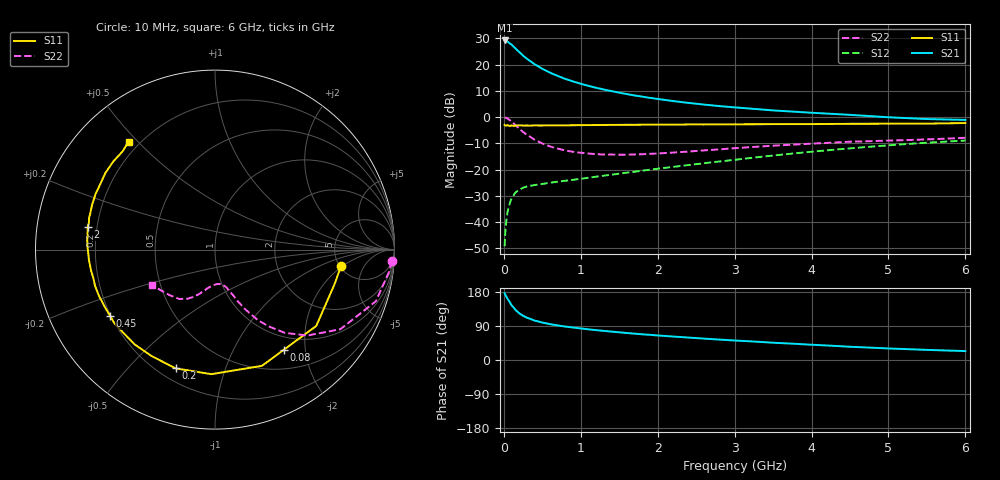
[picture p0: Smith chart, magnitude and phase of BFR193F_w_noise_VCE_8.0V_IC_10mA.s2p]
! Infineon Technologies  Discrete & RF Semiconductors
! BFR193F
! VCE =  8.0 V,  IC =  10 mA
! Common Emitter S-Parameters:  Jan 2017
# GHz  S  MA  R  50
!  f  S11  S21  S12  S22
! GHz  MAG  ANG  MAG  ANG  MAG  ANG  MAG  ANG
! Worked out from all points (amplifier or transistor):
!   77 points, 10 MHz to 6 GHz, reference 50 ohm
!   highest |S21| = 29.2 dB at 10 MHz (marker M1)
!   |S21| within 3 dB of that: start of sweep to 150.2 MHz
!   unconditionally stable (mu >= 1): 1.606 GHz to 2.867 GHz
!   at 130 MHz: K = 0.17, MSG = 28.2 dB, |S12| = -29.6 dB
!   at 2.2 GHz: K = 1.05, MAG = 11.2 dB, |S12| = -18.9 dB
!   at 6 GHz: K = 0.79, MSG = 3.9 dB, |S12| = -8.9 dB
!   lowest NFmin = 0.87 dB at 450 MHz
!   S11 on the Smith chart (normalised r, x): 10 MHz: 5.18, -1.85; 80 MHz: 0.78, -1.61; 200 MHz: 0.27, -0.69; 450 MHz: 0.20, -0.28; 2 GHz: 0.16, +0.08; 6 GHz: 0.16, +0.47
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0.01  0.7085 -7.2  28.72 176.3  0.0035 88.9  0.9873 -3.8
0.02  0.6938 -15.8  28.42 171.9  0.0067 87.7  0.9774 -7.3
0.05  0.7067 -37.0  27.27 160.8  0.0162 73.1  0.9414 -17.8
0.08  0.6772 -55.6  25.05 151.5  0.0234 64.6  0.8662 -26.1
0.1  0.6985 -68.0  24 144.4  0.0283 61.3  0.8276 -32.4
0.14  0.6857 -87.0  20.99 135.1  0.0348 54.0  0.727 -40.4
0.15  0.6943 -91.7  20.34 132.4  0.0365 52.6  0.7045 -42.8
0.2  0.6972 -108.4  17.31 123.3  0.0417 47.0  0.6057 -50.0
0.25  0.6903 -121.0  14.77 116.6  0.0452 43.1  0.5204 -55.1
0.3  0.6925 -130.4  12.87 111.6  0.0479 40.8  0.4599 -58.7
0.4  0.6952 -143.4  10.12 103.9  0.051 39.5  0.3704 -63.3
0.45  0.6917 -147.6  9.193 101.6  0.0522 39.3  0.3424 -64.6
0.6  0.6959 -158.2  7.004 94.6  0.0563 40.4  0.2764 -68.2
0.7  0.6983 -163.1  6.063 91.2  0.0591 42.1  0.2513 -70.2
1.1  0.7048 -175.3  3.927 80.9  0.0701 50.1  0.203 -77.4
1.5  0.7122 177.2  2.916 73.1  0.0838 56.6  0.1925 -85.5
2  0.7202 170.1  2.213 64.8  0.1041 63.0  0.2029 -95.3
2.1  0.7192 169.0  2.115 63.4  0.1085 63.9  0.2071 -96.8
3.1  0.7296 158.9  1.492 50.4  0.1599 70.0  0.2618 -109.5
4.1  0.7376 149.0  1.188 39.3  0.2261 70.5  0.3176 -120.5
5.1  0.7494 137.9  0.977 29.7  0.2973 66.6  0.3608 -136.3
6  0.7706 128.6  0.884 23.5  0.358 61.4  0.4037 -151.2
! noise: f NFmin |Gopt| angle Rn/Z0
0.45  0.87  0.25  139  0.07
0.9  1  0.38  152  0.07
1.9  1.7  0.59  -176  0.06
2.4  2.05  0.63  -165  0.08
